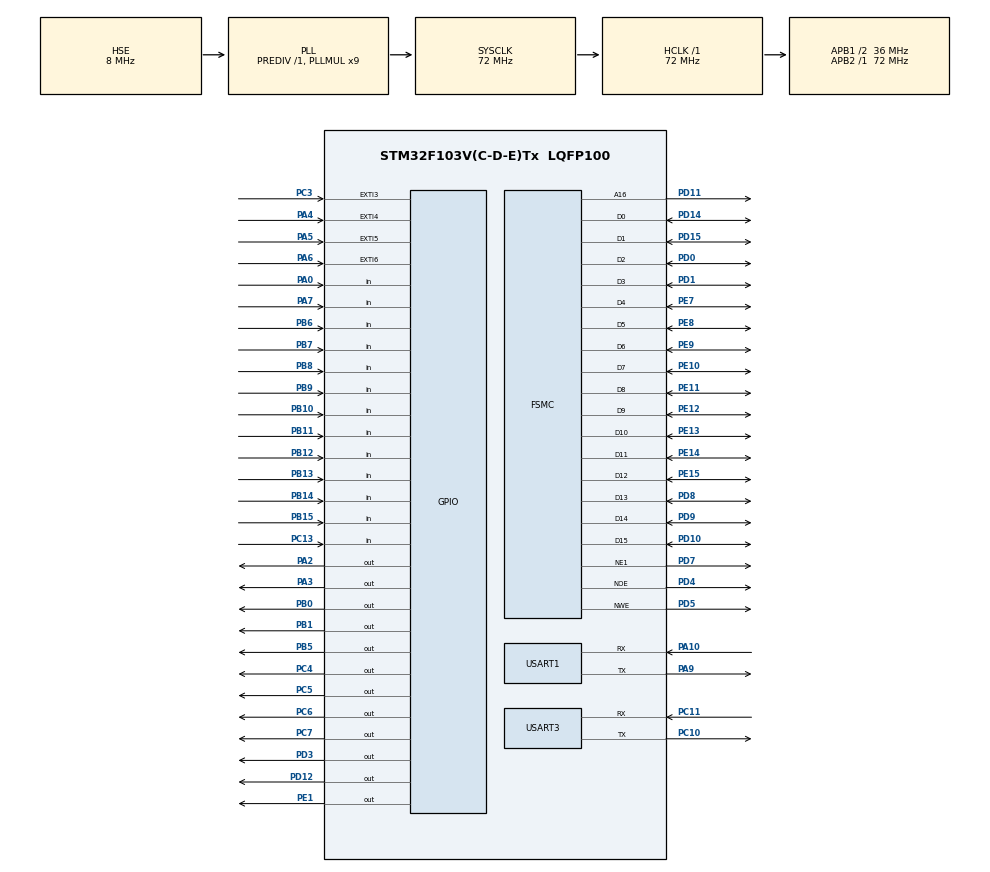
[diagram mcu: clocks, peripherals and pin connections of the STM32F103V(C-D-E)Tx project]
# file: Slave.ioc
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Mcu.Family=STM32F1
Mcu.Name=STM32F103V(C-D-E)Tx
Mcu.Package=LQFP100
NVIC.EXTI3_IRQn=true\:0\:0\:false\:false\:true\:true\:true
NVIC.EXTI4_IRQn=true\:0\:0\:false\:false\:true\:true\:true
NVIC.EXTI9_5_IRQn=true\:0\:0\:false\:false\:true\:true\:true
NVIC.PriorityGroup=NVIC_PRIORITYGROUP_4
NVIC.USART1_IRQn=true\:0\:0\:false\:false\:true\:true\:true
NVIC.USART3_IRQn=true\:0\:0\:false\:false\:true\:true\:true
OSC_IN.Mode=HSE-External-Oscillator
OSC_IN.Signal=RCC_OSC_IN
OSC_OUT.Mode=HSE-External-Oscillator
OSC_OUT.Signal=RCC_OSC_OUT
PA0-WKUP.Signal=GPIO_Input
PA10.Mode=Asynchronous
PA10.Signal=USART1_RX
PA13.Mode=Serial_Wire
PA13.Signal=SYS_JTMS-SWDIO
PA14.Mode=Serial_Wire
PA14.Signal=SYS_JTCK-SWCLK
PA2.GPIO_Speed=GPIO_SPEED_FREQ_HIGH
PA2.Signal=GPIO_Output
PA3.GPIO_Speed=GPIO_SPEED_FREQ_HIGH
PA3.Signal=GPIO_Output
PA4.Signal=GPXTI4
PA5.Signal=GPXTI5
PA6.Signal=GPXTI6
PA7.Signal=GPIO_Input
PA9.Mode=Asynchronous
PA9.Signal=USART1_TX
PB0.GPIO_Speed=GPIO_SPEED_FREQ_HIGH
PB0.PinState=GPIO_PIN_SET
PB0.Signal=GPIO_Output
PB1.GPIO_Speed=GPIO_SPEED_FREQ_HIGH
PB1.PinState=GPIO_PIN_SET
PB1.Signal=GPIO_Output
PB10.Signal=GPIO_Input
PB11.Signal=GPIO_Input
PB12.Signal=GPIO_Input
PB13.Signal=GPIO_Input
PB14.Signal=GPIO_Input
PB15.Signal=GPIO_Input
PB5.GPIO_Speed=GPIO_SPEED_FREQ_HIGH
PB5.PinState=GPIO_PIN_SET
PB5.Signal=GPIO_Output
PB6.Signal=GPIO_Input
PB7.Signal=GPIO_Input
PB8.Signal=GPIO_Input
PB9.Signal=GPIO_Input
PC10.Mode=Asynchronous
PC10.Signal=USART3_TX
PC11.Mode=Asynchronous
PC11.Signal=USART3_RX
PC13-TAMPER-RTC.Signal=GPIO_Input
PC14-OSC32_IN.Mode=LSE-External-Oscillator
PC14-OSC32_IN.Signal=RCC_OSC32_IN
PC15-OSC32_OUT.Mode=LSE-External-Oscillator
PC15-OSC32_OUT.Signal=RCC_OSC32_OUT
PC3.GPIO_ModeDefaultEXTI=GPIO_MODE_IT_FALLING
PC3.Signal=GPXTI3
PC4.GPIO_Speed=GPIO_SPEED_FREQ_HIGH
PC4.Signal=GPIO_Output
PC5.GPIO_Speed=GPIO_SPEED_FREQ_HIGH
PC5.Signal=GPIO_Output
PC6.GPIO_ModeDefaultOutputPP=GPIO_MODE_OUTPUT_OD
PC6.GPIO_PuPd=GPIO_PULLDOWN
PC6.GPIO_Speed=GPIO_SPEED_FREQ_HIGH
PC6.Signal=GPIO_Output
PC7.GPIO_ModeDefaultOutputPP=GPIO_MODE_OUTPUT_OD
PC7.GPIO_Speed=GPIO_SPEED_FREQ_HIGH
PC7.Signal=GPIO_Output
PD0.Mode=16b-d1
PD0.Signal=FSMC_D2
PD1.Mode=16b-d1
PD1.Signal=FSMC_D3
PD10.Mode=16b-d1
PD10.Signal=FSMC_D15
PD11.Mode=A16_1
PD11.Signal=FSMC_A16
PD12.GPIO_Speed=GPIO_SPEED_FREQ_HIGH
PD12.PinState=GPIO_PIN_RESET
PD12.Signal=GPIO_Output
PD14.Mode=16b-d1
PD14.Signal=FSMC_D0
PD15.Mode=16b-d1
PD15.Signal=FSMC_D1
PD3.GPIO_Speed=GPIO_SPEED_FREQ_HIGH
PD3.Signal=GPIO_Output
PD4.Mode=Lcd1
PD4.Signal=FSMC_NOE
PD5.Mode=Lcd1
PD5.Signal=FSMC_NWE
PD7.Mode=NorPsramChipSelect1_1
PD7.Signal=FSMC_NE1
PD8.Mode=16b-d1
PD8.Signal=FSMC_D13
PD9.Mode=16b-d1
PD9.Signal=FSMC_D14
PE1.GPIO_Speed=GPIO_SPEED_FREQ_HIGH
PE1.PinState=GPIO_PIN_RESET
PE1.Signal=GPIO_Output
PE10.Mode=16b-d1
PE10.Signal=FSMC_D7
PE11.Mode=16b-d1
PE11.Signal=FSMC_D8
PE12.Mode=16b-d1
PE12.Signal=FSMC_D9
PE13.Mode=16b-d1
PE13.Signal=FSMC_D10
PE14.Mode=16b-d1
PE14.Signal=FSMC_D11
PE15.Mode=16b-d1
PE15.Signal=FSMC_D12
PE7.Mode=16b-d1
PE7.Signal=FSMC_D4
PE8.Mode=16b-d1
PE8.Signal=FSMC_D5
PE9.Mode=16b-d1
PE9.Signal=FSMC_D6
ProjectManager.HeapSize=0x200
ProjectManager.StackSize=0x400
ProjectManager.TargetToolchain=MDK-ARM V5
RCC.AHBFreq_Value=72000000
RCC.APB1CLKDivider=RCC_HCLK_DIV2
RCC.APB1Freq_Value=36000000
RCC.APB1TimFreq_Value=72000000
RCC.APB2Freq_Value=72000000
RCC.APB2TimFreq_Value=72000000
RCC.HCLKFreq_Value=72000000
RCC.PLLMUL=RCC_PLL_MUL9
RCC.PLLSourceVirtual=RCC_PLLSOURCE_HSE
RCC.SYSCLKFreq_VALUE=72000000
RCC.SYSCLKSource=RCC_SYSCLKSOURCE_PLLCLK
RCC.USBFreq_Value=72000000
USART1.VirtualMode=VM_ASYNC
USART3.VirtualMode=VM_ASYNC
board=custom

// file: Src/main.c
/* USER CODE BEGIN Header */
/**
  ******************************************************************************
  * @file           : main.c
  * @brief          : Main program body
  ******************************************************************************
  * @attention
  *
  * <h2><center>&copy; Copyright (c) 2019 STMicroelectronics.
  * All rights reserved.</center></h2>
  *
  * This software component is licensed by ST under BSD 3-Clause license,
  * the "License"; You may not use this file except in compliance with the
  * License. You may obtain a copy of the License at:
  *                        opensource.org/licenses/BSD-3-Clause
  *
  ******************************************************************************
  */
/* USER CODE END Header */

#include "main.h"

/* USER CODE BEGIN Includes */
#include "lcd.h"
#include "bsp_ov7725.h"
#include "usart2.h"
#include "stdio.h"
#include <string.h>
#include "encoder.h"

/* USER CODE END Includes */

UART_HandleTypeDef huart1;
UART_HandleTypeDef huart3;

SRAM_HandleTypeDef hsram1;

/* USER CODE BEGIN PV */

uint8_t Rxstr[10];
uint8_t ABS_X[9];
uint8_t ABS_Y[9];
uint8_t Motor_0[9];
uint8_t Motor_1[9];
uint8_t Motor_2[9];
uint8_t kk[1];

uint8_t buffer[10];
uint8_t buffer2[10];
uint8_t buffer3[10];
uint8_t large_buffer[30];

uint8_t pid = 0;

struct Encoder encoder0;
struct Encoder encoder1;
struct Encoder encoder2;

/* USER CODE END PV */

void SystemClock_Config(void);
static void MX_GPIO_Init(void);
static void MX_FSMC_Init(void);
static void MX_USART1_UART_Init(void);
static void MX_USART3_UART_Init(void);

/* USER CODE BEGIN 0 */

// #define GETR_FROM_RGB16(RGB565)  ((unsigned char)(( ((unsigned short int )RGB565) >>11)<<3))
// #define GETG_FROM_RGB16(RGB565)  ((unsigned char)(( ((unsigned short int )(RGB565 & 0x7ff)) >>5)<<2))
// #define GETB_FROM_RGB16(RGB565)  ((unsigned char)(( ((unsigned short int )(RGB565 & 0x1f))<<3)))

extern uint8_t Ov7725_vsync;

/* USER CODE END 0 */

int main(void)
{
  /* USER CODE BEGIN 1 */
	uint8_t status;
  /* USER CODE END 1 */

  /* MCU Configuration--------------------------------------------------------*/

  /* Reset of all peripherals, Initializes the Flash interface and the Systick. */
  HAL_Init();

  /* Configure the system clock */
  SystemClock_Config();

  /* Initialize all configured peripherals */
  MX_GPIO_Init();
  MX_FSMC_Init();
  MX_USART1_UART_Init();
  MX_USART3_UART_Init();
  /* USER CODE BEGIN 2 */

	LCD_INIT();
	Encoder_Init(&encoder0, 0);
	Encoder_Init(&encoder1, 1);
	Encoder_Init(&encoder2, 2);

	//LCD_Clear (50, 80, 140, 70, RED);
	//LCD_DrawString(75, 100, "CAMERA DEMO");
	HAL_Delay(2000);

	HAL_UART_Receive_IT(&huart3,Rxstr,20);

  /* USER CODE END 2 */

  /* Infinite loop */
  /* USER CODE BEGIN WHILE */

	while(Ov7725_Init() != SUCCESS)
	{
		LCD_DrawString(150,100, "Unsuccessful Initialization");
	}
	Ov7725_vsync = 0;
	uint8_t counter = 0;

  while (1)
  {
		//clock_t start_t = HAL_GetTick();

		/*
		sprintf (buffer, "%.3d %.3d %.3d %.3d %.3d %.3d %.3d %.3d", Rxstr[0], Rxstr[1], Rxstr[2], Rxstr[3], Rxstr[4], Rxstr[5], Rxstr[6], Rxstr[7]);
		LCD_DrawString(0, 100, buffer);
		*/
		if (HAL_UART_Receive_IT(&huart1, &status, 1) == HAL_OK)
		{
			if (status == 'R')
			{
				HAL_GPIO_WritePin(GPIOB, GPIO_PIN_0|GPIO_PIN_1, GPIO_PIN_SET);
				HAL_GPIO_WritePin(GPIOB, GPIO_PIN_5, GPIO_PIN_RESET);
			}
			else if (status == 'G')
			{
				HAL_GPIO_WritePin(GPIOB, GPIO_PIN_5|GPIO_PIN_1, GPIO_PIN_SET);
				HAL_GPIO_WritePin(GPIOB, GPIO_PIN_0, GPIO_PIN_RESET);
			}
		}

		if (HAL_GPIO_ReadPin(GPIOC, GPIO_PIN_13) == GPIO_PIN_SET)
		{
			if (pid==0)
			{
				pid = 1;
			}
			else if (pid==1)
			{
				pid = 0;
			}
		}

		sprintf(kk, "%d", pid);
		LCD_DrawString(100, 100, kk);

		if (status == 'R' && pid == 1)
		{
			get_rpm(&encoder0);
			buffer[0] = 3;
			sprintf(&buffer[1], "%f", encoder0.rpm);
			buffer[9] = 4;
			//strcpy(large_buffer, buffer);
			HAL_UART_Transmit(&huart1, buffer, 10, HAL_MAX_DELAY);
			HAL_Delay(100);
			//LCD_DrawString(0, 10, "Encoder_0: ");
			//LCD_DrawString(100, 10, buffer);

			get_rpm(&encoder1);
			buffer2[0] = 5;
			sprintf(&buffer2[1], "%f", encoder1.rpm);
			buffer2[9] = 6;
			//strcpy(large_buffer, buffer2);
			HAL_UART_Transmit(&huart1, buffer2, 10, HAL_MAX_DELAY);
			HAL_Delay(100);
			//LCD_DrawString(0, 40, "Encoder_1: ");
			//LCD_DrawString(100, 40, buffer2);

			get_rpm(&encoder2);
			buffer3[0] = 7;
			sprintf(&buffer3[1], "%f", encoder2.rpm);
			buffer3[9] = 8;
			//strcpy(large_buffer, buffer3);
			HAL_UART_Transmit(&huart1, buffer3, 10, HAL_MAX_DELAY);
			HAL_Delay(100);
			///LCD_DrawString(0, 70, "Encoder_2: ");
			//LCD_DrawString(100, 70, buffer3);
			/*
			large_buffer[0] = 3;
			large_buffer[9] = 4;
			large_buffer[10] = 5;
			large_buffer[19] = 6;
			large_buffer[20] = 7;
			large_buffer[21] = 8;

			sprintf(&large_buffer[1], "%f", encoder0.rpm);
			sprintf(&large_buffer[11], "%f", encoder1.rpm);
			sprintf(&large_buffer[21], "%f", encoder2.rpm);

			HAL_UART_Transmit(&huart1, large_buffer, 30, HAL_MAX_DELAY);

			HAL_Delay(125);
			*/
		}

		/*
		LCD_DrawString(0, 100, "ABS_X: ");
		LCD_DrawString(70, 100, ABS_X);

		LCD_DrawString(0, 130, "ABS_Y: ");
		LCD_DrawString(70, 130, ABS_Y);

		LCD_DrawString(0, 160, "Motor_0: ");
		LCD_DrawString(70, 160, Motor_0);

		LCD_DrawString(0, 190, "Motor_1: ");
		LCD_DrawString(70, 190, Motor_1);

		LCD_DrawString(0, 220, "Motor_2: ");
		LCD_DrawString(70, 220, Motor_2);
		*/
		//LCD_DrawString(150,100, "");

		if (Ov7725_vsync == 2 && status == 'R')
		//if (Ov7725_vsync == 2)
		{

		//	if (HAL_GPIO_ReadPin(GPIOA, GPIO_PIN_0) == GPIO_PIN_SET) {
		//		FIFO_PREPARE;
		//		ImagDisp(&huart1);
		//	}

			FIFO_PREPARE;
			ImagDisp(&huart1);

			Ov7725_vsync = 0;
			//counter = 0;
		}

		//LCD_DrawString(0, 250, "TimeDiff: ");
		//clock_t end_t = HAL_GetTick();

		//sprintf(buffer, "%d", end_t-start_t);
		//LCD_DrawString(100, 250, buffer);
    /* USER CODE END WHILE */

  }
}

void SystemClock_Config(void)
{
  RCC_OscInitTypeDef RCC_OscInitStruct = {0};
  RCC_ClkInitTypeDef RCC_ClkInitStruct = {0};

  /** Initializes the CPU, AHB and APB busses clocks
  */
  RCC_OscInitStruct.OscillatorType = RCC_OSCILLATORTYPE_HSE;
  RCC_OscInitStruct.HSEState = RCC_HSE_ON;
  RCC_OscInitStruct.HSEPredivValue = RCC_HSE_PREDIV_DIV1;
  RCC_OscInitStruct.HSIState = RCC_HSI_ON;
  RCC_OscInitStruct.PLL.PLLState = RCC_PLL_ON;
  RCC_OscInitStruct.PLL.PLLSource = RCC_PLLSOURCE_HSE;
  RCC_OscInitStruct.PLL.PLLMUL = RCC_PLL_MUL9;
  if (HAL_RCC_OscConfig(&RCC_OscInitStruct) != HAL_OK)
  {
    Error_Handler();
  }
  /** Initializes the CPU, AHB and APB busses clocks
  */
  RCC_ClkInitStruct.ClockType = RCC_CLOCKTYPE_HCLK|RCC_CLOCKTYPE_SYSCLK
                              |RCC_CLOCKTYPE_PCLK1|RCC_CLOCKTYPE_PCLK2;
  RCC_ClkInitStruct.SYSCLKSource = RCC_SYSCLKSOURCE_PLLCLK;
  RCC_ClkInitStruct.AHBCLKDivider = RCC_SYSCLK_DIV1;
  RCC_ClkInitStruct.APB1CLKDivider = RCC_HCLK_DIV2;
  RCC_ClkInitStruct.APB2CLKDivider = RCC_HCLK_DIV1;

  if (HAL_RCC_ClockConfig(&RCC_ClkInitStruct, FLASH_LATENCY_2) != HAL_OK)
  {
    Error_Handler();
  }
}

static void MX_USART1_UART_Init(void)
{

  huart1.Instance = USART1;
  huart1.Init.BaudRate = 115200;
  huart1.Init.WordLength = UART_WORDLENGTH_8B;
  huart1.Init.StopBits = UART_STOPBITS_1;
  huart1.Init.Parity = UART_PARITY_NONE;
  huart1.Init.Mode = UART_MODE_TX_RX;
  huart1.Init.HwFlowCtl = UART_HWCONTROL_NONE;
  huart1.Init.OverSampling = UART_OVERSAMPLING_16;
  if (HAL_UART_Init(&huart1) != HAL_OK)
  {
    Error_Handler();
  }

}

static void MX_USART3_UART_Init(void)
{

  huart3.Instance = USART3;
  huart3.Init.BaudRate = 115200;
  huart3.Init.WordLength = UART_WORDLENGTH_8B;
  huart3.Init.StopBits = UART_STOPBITS_1;
  huart3.Init.Parity = UART_PARITY_NONE;
  huart3.Init.Mode = UART_MODE_TX_RX;
  huart3.Init.HwFlowCtl = UART_HWCONTROL_NONE;
  huart3.Init.OverSampling = UART_OVERSAMPLING_16;
  if (HAL_UART_Init(&huart3) != HAL_OK)
  {
    Error_Handler();
  }

}

static void MX_GPIO_Init(void)
{
  GPIO_InitTypeDef GPIO_InitStruct = {0};

  /* GPIO Ports Clock Enable */
  __HAL_RCC_GPIOC_CLK_ENABLE();
  __HAL_RCC_GPIOA_CLK_ENABLE();
  __HAL_RCC_GPIOB_CLK_ENABLE();
  __HAL_RCC_GPIOE_CLK_ENABLE();
  __HAL_RCC_GPIOD_CLK_ENABLE();

  /*Configure GPIO pin Output Level */
  HAL_GPIO_WritePin(GPIOA, GPIO_PIN_2|GPIO_PIN_3, GPIO_PIN_RESET);

  /*Configure GPIO pin Output Level */
  HAL_GPIO_WritePin(GPIOC, GPIO_PIN_4|GPIO_PIN_5|GPIO_PIN_6|GPIO_PIN_7, GPIO_PIN_RESET);

  /*Configure GPIO pin Output Level */
  HAL_GPIO_WritePin(GPIOB, GPIO_PIN_0|GPIO_PIN_1|GPIO_PIN_5, GPIO_PIN_SET);

  /*Configure GPIO pin Output Level */
  HAL_GPIO_WritePin(GPIOD, GPIO_PIN_12|GPIO_PIN_3, GPIO_PIN_RESET);

  /*Configure GPIO pin Output Level */
  HAL_GPIO_WritePin(GPIOE, GPIO_PIN_1, GPIO_PIN_RESET);

  /*Configure GPIO pin : PC13 */
  GPIO_InitStruct.Pin = GPIO_PIN_13;
  GPIO_InitStruct.Mode = GPIO_MODE_INPUT;
  GPIO_InitStruct.Pull = GPIO_NOPULL;
  HAL_GPIO_Init(GPIOC, &GPIO_InitStruct);

  /*Configure GPIO pin : PC3 */
  GPIO_InitStruct.Pin = GPIO_PIN_3;
  GPIO_InitStruct.Mode = GPIO_MODE_IT_FALLING;
  GPIO_InitStruct.Pull = GPIO_NOPULL;
  HAL_GPIO_Init(GPIOC, &GPIO_InitStruct);

  /*Configure GPIO pins : PA0 PA7 */
  GPIO_InitStruct.Pin = GPIO_PIN_0|GPIO_PIN_7;
  GPIO_InitStruct.Mode = GPIO_MODE_INPUT;
  GPIO_InitStruct.Pull = GPIO_NOPULL;
  HAL_GPIO_Init(GPIOA, &GPIO_InitStruct);

  /*Configure GPIO pins : PA2 PA3 */
  GPIO_InitStruct.Pin = GPIO_PIN_2|GPIO_PIN_3;
  GPIO_InitStruct.Mode = GPIO_MODE_OUTPUT_PP;
  GPIO_InitStruct.Pull = GPIO_NOPULL;
  GPIO_InitStruct.Speed = GPIO_SPEED_FREQ_HIGH;
  HAL_GPIO_Init(GPIOA, &GPIO_InitStruct);

  /*Configure GPIO pins : PA4 PA5 PA6 */
  GPIO_InitStruct.Pin = GPIO_PIN_4|GPIO_PIN_5|GPIO_PIN_6;
  GPIO_InitStruct.Mode = GPIO_MODE_IT_RISING;
  GPIO_InitStruct.Pull = GPIO_NOPULL;
  HAL_GPIO_Init(GPIOA, &GPIO_InitStruct);

  /*Configure GPIO pins : PC4 PC5 */
  GPIO_InitStruct.Pin = GPIO_PIN_4|GPIO_PIN_5;
  GPIO_InitStruct.Mode = GPIO_MODE_OUTPUT_PP;
  GPIO_InitStruct.Pull = GPIO_NOPULL;
  GPIO_InitStruct.Speed = GPIO_SPEED_FREQ_HIGH;
  HAL_GPIO_Init(GPIOC, &GPIO_InitStruct);

  /*Configure GPIO pins : PB0 PB1 PB5 */
  GPIO_InitStruct.Pin = GPIO_PIN_0|GPIO_PIN_1|GPIO_PIN_5;
  GPIO_InitStruct.Mode = GPIO_MODE_OUTPUT_PP;
  GPIO_InitStruct.Pull = GPIO_NOPULL;
  GPIO_InitStruct.Speed = GPIO_SPEED_FREQ_HIGH;
  HAL_GPIO_Init(GPIOB, &GPIO_InitStruct);

  /*Configure GPIO pins : PB10 PB11 PB12 PB13
                           PB14 PB15 PB6 PB7
                           PB8 PB9 */
  GPIO_InitStruct.Pin = GPIO_PIN_10|GPIO_PIN_11|GPIO_PIN_12|GPIO_PIN_13
                          |GPIO_PIN_14|GPIO_PIN_15|GPIO_PIN_6|GPIO_PIN_7
                          |GPIO_PIN_8|GPIO_PIN_9;
  GPIO_InitStruct.Mode = GPIO_MODE_INPUT;
  GPIO_InitStruct.Pull = GPIO_NOPULL;
  HAL_GPIO_Init(GPIOB, &GPIO_InitStruct);

  /*Configure GPIO pins : PD12 PD3 */
  GPIO_InitStruct.Pin = GPIO_PIN_12|GPIO_PIN_3;
  GPIO_InitStruct.Mode = GPIO_MODE_OUTPUT_PP;
  GPIO_InitStruct.Pull = GPIO_NOPULL;
  GPIO_InitStruct.Speed = GPIO_SPEED_FREQ_HIGH;
  HAL_GPIO_Init(GPIOD, &GPIO_InitStruct);

  /*Configure GPIO pin : PC6 */
  GPIO_InitStruct.Pin = GPIO_PIN_6;
  GPIO_InitStruct.Mode = GPIO_MODE_OUTPUT_OD;
  GPIO_InitStruct.Pull = GPIO_PULLDOWN;
  GPIO_InitStruct.Speed = GPIO_SPEED_FREQ_HIGH;
  HAL_GPIO_Init(GPIOC, &GPIO_InitStruct);

  /*Configure GPIO pin : PC7 */
  GPIO_InitStruct.Pin = GPIO_PIN_7;
  GPIO_InitStruct.Mode = GPIO_MODE_OUTPUT_OD;
  GPIO_InitStruct.Pull = GPIO_NOPULL;
  GPIO_InitStruct.Speed = GPIO_SPEED_FREQ_HIGH;
  HAL_GPIO_Init(GPIOC, &GPIO_InitStruct);

  /*Configure GPIO pin : PE1 */
  GPIO_InitStruct.Pin = GPIO_PIN_1;
  GPIO_InitStruct.Mode = GPIO_MODE_OUTPUT_PP;
  GPIO_InitStruct.Pull = GPIO_NOPULL;
  GPIO_InitStruct.Speed = GPIO_SPEED_FREQ_HIGH;
  HAL_GPIO_Init(GPIOE, &GPIO_InitStruct);

  /* EXTI interrupt init*/
  HAL_NVIC_SetPriority(EXTI3_IRQn, 0, 0);
  HAL_NVIC_EnableIRQ(EXTI3_IRQn);

  HAL_NVIC_SetPriority(EXTI4_IRQn, 0, 0);
  HAL_NVIC_EnableIRQ(EXTI4_IRQn);

  HAL_NVIC_SetPriority(EXTI9_5_IRQn, 0, 0);
  HAL_NVIC_EnableIRQ(EXTI9_5_IRQn);

}

/* FSMC initialization function */
static void MX_FSMC_Init(void)
{

  FSMC_NORSRAM_TimingTypeDef Timing = {0};

  /** Perform the SRAM1 memory initialization sequence
  */
  hsram1.Instance = FSMC_NORSRAM_DEVICE;
  hsram1.Extended = FSMC_NORSRAM_EXTENDED_DEVICE;
  /* hsram1.Init */
  hsram1.Init.NSBank = FSMC_NORSRAM_BANK1;
  hsram1.Init.DataAddressMux = FSMC_DATA_ADDRESS_MUX_DISABLE;
  hsram1.Init.MemoryType = FSMC_MEMORY_TYPE_SRAM;
  hsram1.Init.MemoryDataWidth = FSMC_NORSRAM_MEM_BUS_WIDTH_16;
  hsram1.Init.BurstAccessMode = FSMC_BURST_ACCESS_MODE_DISABLE;
  hsram1.Init.WaitSignalPolarity = FSMC_WAIT_SIGNAL_POLARITY_LOW;
  hsram1.Init.WrapMode = FSMC_WRAP_MODE_DISABLE;
  hsram1.Init.WaitSignalActive = FSMC_WAIT_TIMING_BEFORE_WS;
  hsram1.Init.WriteOperation = FSMC_WRITE_OPERATION_ENABLE;
  hsram1.Init.WaitSignal = FSMC_WAIT_SIGNAL_DISABLE;
  hsram1.Init.ExtendedMode = FSMC_EXTENDED_MODE_DISABLE;
  hsram1.Init.AsynchronousWait = FSMC_ASYNCHRONOUS_WAIT_DISABLE;
  hsram1.Init.WriteBurst = FSMC_WRITE_BURST_DISABLE;
  /* Timing */
  Timing.AddressSetupTime = 15;
  Timing.AddressHoldTime = 15;
  Timing.DataSetupTime = 255;
  Timing.BusTurnAroundDuration = 15;
  Timing.CLKDivision = 16;
  Timing.DataLatency = 17;
  Timing.AccessMode = FSMC_ACCESS_MODE_A;
  /* ExtTiming */

  if (HAL_SRAM_Init(&hsram1, &Timing, NULL) != HAL_OK)
  {
    Error_Handler( );
  }

  /** Disconnect NADV
  */

  __HAL_AFIO_FSMCNADV_DISCONNECTED();

}

void Error_Handler(void)
{
}

/************************ (C) COPYRIGHT STMicroelectronics *****END OF FILE****/
